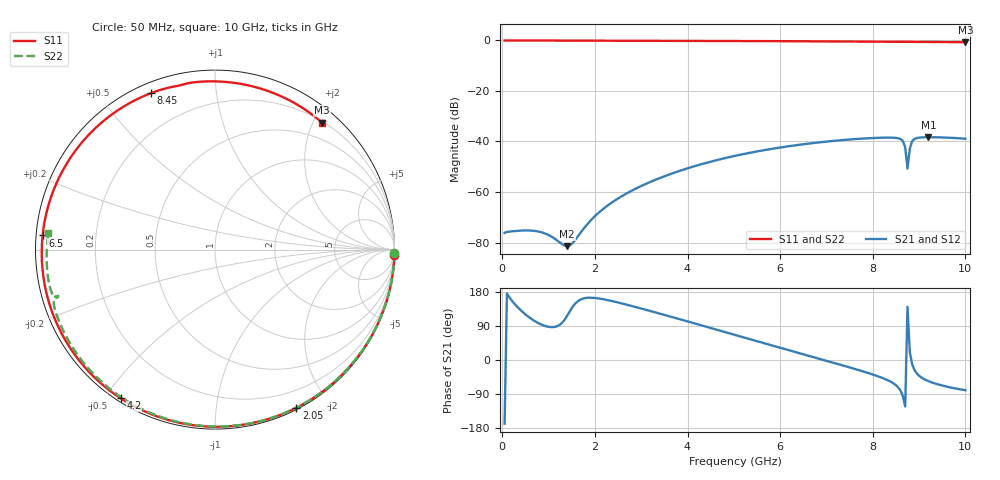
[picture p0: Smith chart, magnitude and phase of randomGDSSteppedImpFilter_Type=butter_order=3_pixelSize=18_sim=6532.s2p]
! freq	dB(S11)	phase(S11)	dB(S12)	phase(S12)
!  dB(S21)	phase(S21)	dB(S22)	phase(S22)
!S-par simulation data
#  GHz  S  DB  R 50
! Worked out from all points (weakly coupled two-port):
!   200 points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, 50 MHz to 10 GHz, reference 50 ohm
!   highest |S21| = -38.31 dB at 9.2 GHz (marker M1); lowest = -81.4 dB at 1.4 GHz (marker M2)
!   lowest |S11| = -0.7 dB at 10 GHz (marker M3), VSWR 25.85, Z = 10.8 + j107 ohm
!   |S11| at or under -10 dB: nowhere
!   |S22| runs from -0.8 to 0.0 dB; largest |S21 - S12| = 0
!   S11 on the Smith chart (normalised r, x): 50 MHz: 0, -72; 2.05 GHz: 0.02, -1.64; 4.2 GHz: 0.01, -0.55; 6.5 GHz: 0.02, +0.04; 8.45 GHz: 0.04, +0.67; 10 GHz: 0.22, +2.13
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0.05  -0.00 -1.6  -76.19 -168.0  -76.19 -168.0  -0.00 -1.1
0.7  -0.02 -22.0  -75.40 102.7  -75.40 102.7  -0.01 -15.0
1.4  -0.05 -43.4  -81.45 116.7  -81.45 116.7  -0.04 -29.7
1.55  -0.06 -48.0  -79.55 145.4  -79.55 145.4  -0.04 -32.8
1.75  -0.07 -53.9  -74.67 162.2  -74.67 162.2  -0.05 -36.9
2.05  -0.08 -62.8  -68.71 163.0  -68.71 163.0  -0.05 -43.0
2.6  -0.10 -78.6  -61.45 148.7  -61.45 148.7  -0.07 -54.1
3.4  -0.13 -100.8  -54.48 122.4  -54.48 122.4  -0.09 -69.6
4.2  -0.17 -122.4  -49.52 94.9  -49.52 94.9  -0.12 -84.6
5.05  -0.21 -144.9  -45.59 65.3  -45.59 65.3  -0.15 -99.9
6.5  -0.32 175.3  -41.09 15.2  -41.09 15.2  -0.23 -124.9
6.7  -0.34 169.5  -40.64 8.3  -40.64 8.3  -0.25 -128.3
7.5  -0.42 145.0  -39.20 -19.5  -39.20 -19.5  -0.31 -141.9
8.35  -0.51 116.0  -38.46 -54.9  -38.46 -54.9  -0.40 -156.6
8.45  -0.52 112.3  -38.51 -61.9  -38.51 -61.9  -0.41 -158.4
8.65  -0.56 104.9  -39.81 -94.9  -39.81 -94.9  -0.52 -162.6
8.7  -0.58 103.1  -42.26 -122.9  -42.26 -122.9  -0.65 -163.6
8.75  -0.57 101.4  -50.72 140.6  -50.72 140.6  -0.82 -163.5
8.8  -0.55 99.5  -42.84 20.6  -42.84 20.6  -0.73 -163.0
8.85  -0.54 97.5  -39.88 -11.2  -39.88 -11.2  -0.60 -163.7
9.2  -0.58 83.4  -38.31 -55.7  -38.31 -55.7  -0.51 -170.6
10  -0.67 49.9  -38.91 -79.7  -38.91 -79.7  -0.61 174.3
